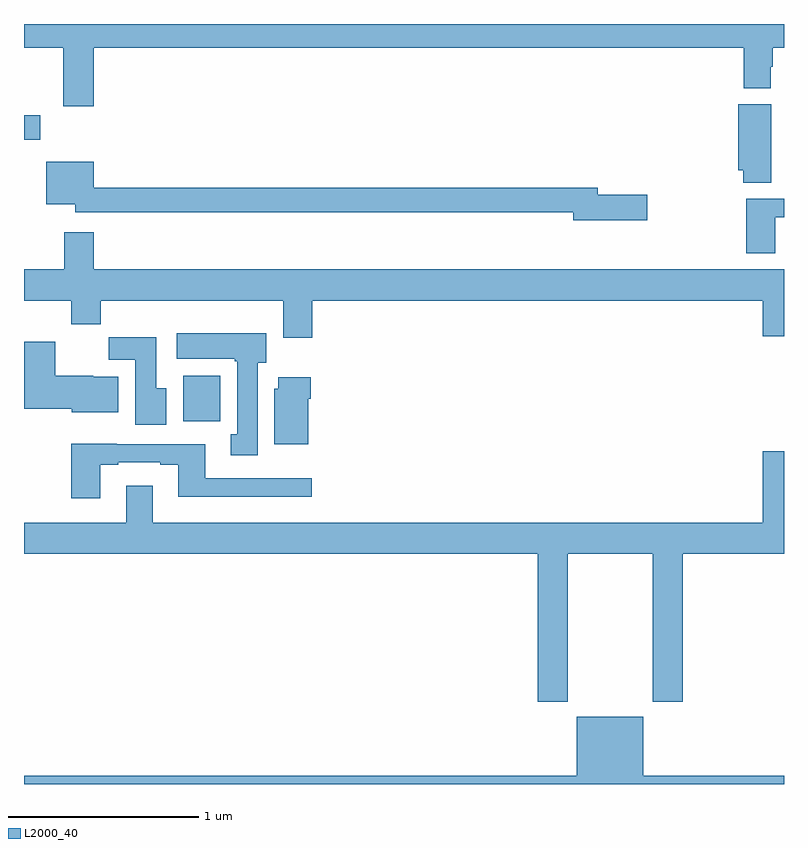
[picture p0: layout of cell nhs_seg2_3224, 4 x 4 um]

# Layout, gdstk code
import gdstk
lib = gdstk.Library(unit=1e-6, precision=1e-09)
def R(c, l, rs):  # rectangles x0, y0, x1, y1
    for r in rs: c.add(gdstk.rectangle(r[:2], r[2:], *l))
def P(c, l, *ps):  # polygons
    for p in ps: c.add(gdstk.Polygon(p, *l))
L2000_40 = (2000, 40)

nhs_seg2_3224 = lib.new_cell('nhs_seg2_3224')
R(nhs_seg2_3224, L2000_40, [(281.837,605.708,282.034,605.95), (281,607.191,281.086,607.32)])
P(nhs_seg2_3224, L2000_40, [(281.366,607.676),(284.789,607.676),(284.789,607.463),(284.929,607.463),(284.929,607.575),(284.942,607.575),(284.942,607.676),(285,607.676),(285,607.8),(281,607.8),(281,607.676),(281.206,607.676),(281.206,607.368),(281.366,607.368)],
  [(284.932,607.378),(284.759,607.378),(284.759,607.031),(284.786,607.031),(284.786,606.964),(284.932,606.964)],
  [(284.281,606.902),(284.02,606.902),(284.02,606.938),(281.368,606.938),(281.368,607.075),(281.117,607.075),(281.117,606.851),(281.27,606.851),(281.27,606.81),(283.892,606.81),(283.892,606.767),(284.281,606.767)],
  [(284.953,606.783),(285,606.783),(285,606.879),(284.801,606.879),(284.801,606.594),(284.953,606.594)],
  [(282.518,606.344),(284.888,606.344),(284.888,606.156),(285,606.156),(285,606.508),(281.366,606.508),(281.366,606.703),(281.213,606.703),(281.213,606.508),(281,606.508),(281,606.344),(281.249,606.344),(281.249,606.22),(281.405,606.22),(281.405,606.344),(282.365,606.344),(282.365,606.15),(282.518,606.15)],
  [(282.229,606.018),(282.274,606.018),(282.274,606.172),(281.805,606.172),(281.805,606.038),(282.109,606.038),(282.109,606.025),(282.122,606.025),(282.122,605.642),(282.089,605.642),(282.089,605.529),(282.229,605.529)],
  [(281.749,605.884),(281.695,605.884),(281.695,606.151),(281.446,606.151),(281.446,606.032),(281.585,606.032),(281.585,605.691),(281.749,605.691)],
  [(281.497,605.944),(281.364,605.944),(281.364,605.95),(281.164,605.95),(281.164,606.127),(281,606.127),(281,605.774),(281.25,605.774),(281.25,605.756),(281.497,605.756)],
  [(282.496,605.828),(282.509,605.828),(282.509,605.941),(282.338,605.941),(282.338,605.88),(282.317,605.88),(282.317,605.588),(282.496,605.588)],
  [(281.401,605.481),(281.497,605.481),(281.497,605.493),(281.717,605.493),(281.717,605.481),(281.813,605.481),(281.813,605.312),(282.514,605.312),(282.514,605.409),(281.953,605.409),(281.953,605.589),(281.489,605.589),(281.489,605.59),(281.249,605.59),(281.249,605.304),(281.401,605.304)],
  [(283.863,605.012),(284.308,605.012),(284.308,604.233),(284.468,604.233),(284.468,605.012),(285,605.012),(285,605.551),(284.888,605.551),(284.888,605.176),(281.677,605.176),(281.677,605.371),(281.537,605.371),(281.537,605.176),(281,605.176),(281,605.012),(283.703,605.012),(283.703,604.233),(283.863,604.233)],
  [(285,603.844),(284.26,603.844),(284.26,604.153),(283.91,604.153),(283.91,603.844),(281,603.844),(281,603.8),(285,603.8)])

lib.write_gds('nhs_seg2_3224.gds')
